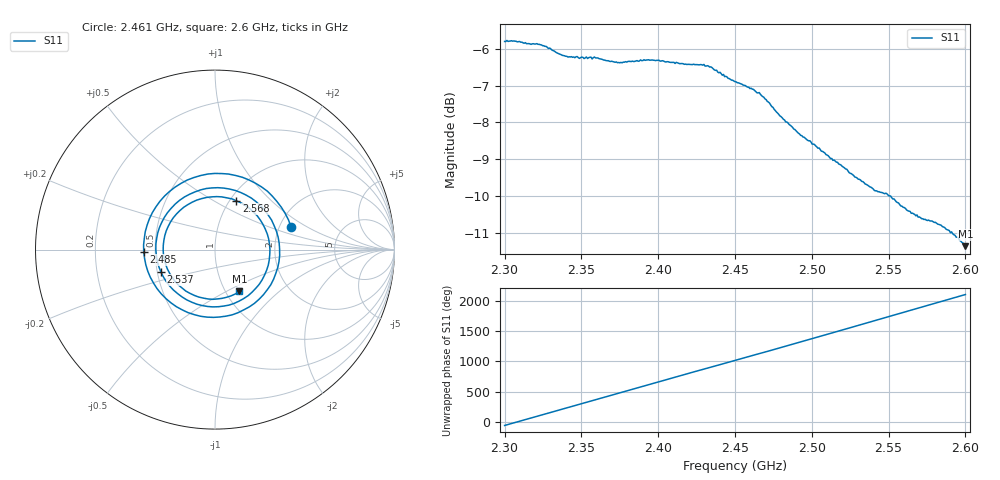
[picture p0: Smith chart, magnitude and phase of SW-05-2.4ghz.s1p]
! NanoVNA-App
! Date: 2026-05-22 18:56:51
! Start: 2.3GHz Stop: 2.6GHz Points: 401
! S-Parameter data: F S11
# Hz S RI R 50
!  Frequency  S11_Real  S11_Imag
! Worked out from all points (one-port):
!   401 points, 2.3 GHz to 2.6 GHz, reference 50 ohm
!   lowest |S11| = -11.4 dB at 2.6 GHz (marker M1), VSWR 1.74, Z = 57.9 - j29.1 ohm
!   |S11| at or under -10 dB: 2.55 GHz to end of sweep
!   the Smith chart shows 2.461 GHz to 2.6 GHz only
!   S11 on the Smith chart (normalised r, x): 2.461 GHz: 2.31, +0.73; 2.485 GHz: 0.43, -0.01; 2.537 GHz: 0.52, -0.14; 2.568 GHz: 1.07, +0.64; 2.6 GHz: 1.16, -0.58
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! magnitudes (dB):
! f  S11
! 2.3 GHz  -5.8
! 2.306 GHz  -5.8
! 2.322 GHz  -5.9
! 2.329 GHz  -6.0
! 2.337 GHz  -6.2
! 2.343 GHz  -6.2
! 2.359 GHz  -6.2
! 2.375 GHz  -6.4
! 2.392 GHz  -6.3
! 2.413 GHz  -6.4
! 2.428 GHz  -6.4
! 2.433 GHz  -6.5
! 2.45 GHz  -6.9
! 2.461 GHz  -7.1
! 2.467 GHz  -7.3
! 2.478 GHz  -7.8
! 2.485 GHz  -8.0
! 2.487 GHz  -8.1
! 2.493 GHz  -8.4
! 2.525 GHz  -9.4
! 2.537 GHz  -9.7
! 2.542 GHz  -9.9
! 2.55 GHz  -10.0
! 2.562 GHz  -10.4
! 2.568 GHz  -10.5
! 2.585 GHz  -10.8
! 2.592 GHz  -11.1
! 2.6 GHz  -11.4
